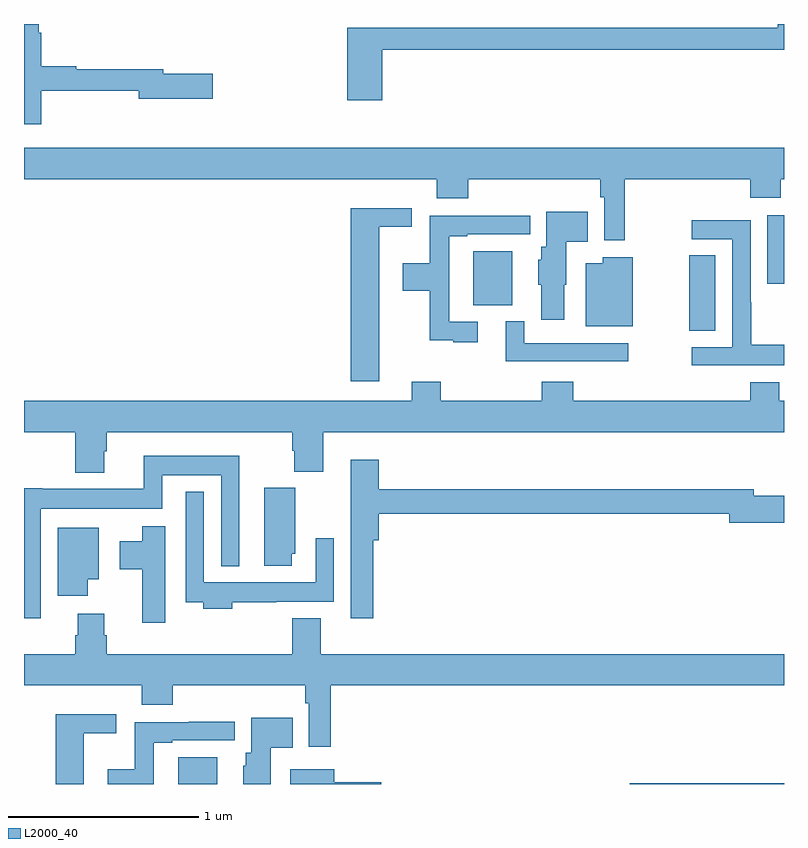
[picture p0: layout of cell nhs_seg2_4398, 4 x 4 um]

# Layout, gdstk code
import gdstk
lib = gdstk.Library(unit=1e-6, precision=1e-09)
def R(c, l, rs):  # rectangles x0, y0, x1, y1
    for r in rs: c.add(gdstk.rectangle(r[:2], r[2:], *l))
def P(c, l, *ps):  # polygons
    for p in ps: c.add(gdstk.Polygon(p, *l))
L2000_40 = (2000, 40)

nhs_seg2_4398 = lib.new_cell('nhs_seg2_4398')
R(nhs_seg2_4398, L2000_40, [(349.811,629.8,350.017,629.941), (352.187,629.8,353,629.804), (352.501,632.185,352.639,632.582), (351.365,632.321,351.571,632.605), (352.913,632.433,353,632.794)])
P(nhs_seg2_4398, L2000_40, [(349.091,633.45),(349.604,633.45),(349.604,633.407),(349.993,633.407),(349.993,633.537),(349.732,633.537),(349.732,633.563),(349.274,633.563),(349.274,633.578),(349.091,633.578),(349.091,633.755),(349.078,633.755),(349.078,633.8),(349,633.8),(349,633.273),(349.091,633.273)],
  [(350.885,633.664),(353,633.664),(353,633.8),(352.966,633.8),(352.966,633.78),(350.702,633.78),(350.702,633.399),(350.885,633.399)],
  [(352.162,632.984),(352.823,632.984),(352.823,632.885),(352.983,632.885),(352.983,632.984),(353,632.984),(353,633.148),(349,633.148),(349,632.984),(351.173,632.984),(351.173,632.882),(351.338,632.882),(351.338,632.984),(352.033,632.984),(352.033,632.888),(352.053,632.888),(352.053,632.661),(352.162,632.661)],
  [(350.869,632.732),(351.04,632.732),(351.04,632.83),(350.72,632.83),(350.72,631.92),(350.869,631.92)],
  [(351.844,632.427),(351.853,632.427),(351.853,632.654),(351.968,632.654),(351.968,632.812),(351.749,632.812),(351.749,632.628),(351.722,632.628),(351.722,632.559),(351.707,632.559),(351.707,632.427),(351.722,632.427),(351.722,632.244),(351.844,632.244)],
  [(351.388,632.232),(351.237,632.232),(351.237,632.682),(351.334,632.682),(351.334,632.694),(351.664,632.694),(351.664,632.792),(351.421,632.792),(351.421,632.79),(351.136,632.79),(351.136,632.542),(350.994,632.542),(350.994,632.395),(351.136,632.395),(351.136,632.135),(351.26,632.135),(351.26,632.124),(351.388,632.124)],
  [(353,632.113),(352.827,632.113),(352.827,632.336),(352.824,632.336),(352.824,632.766),(352.515,632.766),(352.515,632.667),(352.728,632.667),(352.728,632.1),(352.515,632.1),(352.515,632.004),(353,632.004)],
  [(352.204,632.572),(352.046,632.572),(352.046,632.542),(351.956,632.542),(351.956,632.21),(352.204,632.21)],
  [(352.18,632.121),(351.633,632.121),(351.633,632.236),(351.536,632.236),(351.536,632.025),(352.18,632.025)],
  [(349.423,631.551),(349.436,631.551),(349.436,631.652),(350.411,631.652),(350.411,631.553),(350.423,631.553),(350.423,631.444),(350.576,631.444),(350.576,631.652),(353,631.652),(353,631.816),(352.975,631.816),(352.975,631.915),(352.823,631.915),(352.823,631.816),(351.89,631.816),(351.89,631.918),(351.725,631.918),(351.725,631.816),(351.194,631.816),(351.194,631.918),(351.041,631.918),(351.041,631.816),(349,631.816),(349,631.652),(349.271,631.652),(349.271,631.439),(349.423,631.439)],
  [(349.089,631.25),(349.728,631.25),(349.728,631.424),(350.037,631.424),(350.037,630.947),(350.134,630.947),(350.134,631.528),(349.631,631.528),(349.631,631.354),(349.096,631.354),(349.096,631.357),(349,631.357),(349,630.672),(349.089,630.672)],
  [(350.837,631.082),(350.867,631.082),(350.867,631.222),(352.712,631.222),(352.712,631.175),(353,631.175),(353,631.317),(352.84,631.317),(352.84,631.351),(350.867,631.351),(350.867,631.507),(350.72,631.507),(350.72,631.245),(350.721,631.245),(350.721,630.672),(350.837,630.672)],
  [(350.41,631.011),(350.428,631.011),(350.428,631.359),(350.264,631.359),(350.264,630.948),(350.41,630.948)],
  [(350.096,630.756),(350.327,630.756),(350.327,630.758),(350.631,630.758),(350.631,631.093),(350.535,631.093),(350.535,630.862),(349.947,630.862),(349.947,631.339),(349.851,631.339),(349.851,630.756),(349.943,630.756),(349.943,630.722),(350.096,630.722)],
  [(349.744,631.156),(349.622,631.156),(349.622,631.078),(349.505,631.078),(349.505,630.931),(349.622,630.931),(349.622,630.648),(349.744,630.648)],
  [(349.336,630.878),(349.393,630.878),(349.393,631.15),(349.178,631.15),(349.178,630.792),(349.336,630.792)],
  [(350.615,630.32),(353,630.32),(353,630.484),(350.563,630.484),(350.563,630.673),(350.411,630.673),(350.411,630.484),(349.436,630.484),(349.436,630.582),(349.423,630.582),(349.423,630.697),(349.283,630.697),(349.283,630.582),(349.271,630.582),(349.271,630.484),(349,630.484),(349,630.32),(349.619,630.32),(349.619,630.218),(349.784,630.218),(349.784,630.32),(350.479,630.32),(350.479,630.224),(350.499,630.224),(350.499,629.997),(350.615,629.997)],
  [(349.315,630.068),(349.486,630.068),(349.486,630.166),(349.166,630.166),(349.166,629.8),(349.315,629.8)],
  [(350.299,629.99),(350.414,629.99),(350.414,630.148),(350.195,630.148),(350.195,629.964),(350.168,629.964),(350.168,629.895),(350.153,629.895),(350.153,629.8),(350.299,629.8)],
  [(349.683,630.018),(349.78,630.018),(349.78,630.03),(350.11,630.03),(350.11,630.128),(349.867,630.128),(349.867,630.126),(349.582,630.126),(349.582,629.878),(349.44,629.878),(349.44,629.8),(349.683,629.8)],
  [(350.881,629.81),(350.632,629.81),(350.632,629.878),(350.402,629.878),(350.402,629.8),(350.881,629.8)])

lib.write_gds('nhs_seg2_4398.gds')
